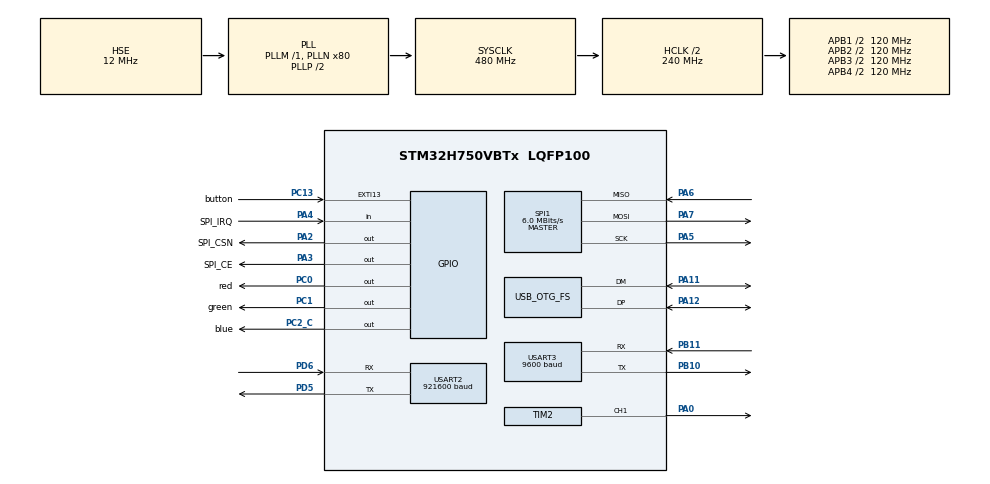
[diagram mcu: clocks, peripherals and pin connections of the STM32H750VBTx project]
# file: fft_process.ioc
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Mcu.Family=STM32H7
Mcu.Name=STM32H750VBTx
Mcu.Package=LQFP100
NVIC.OTG_FS_EP1_IN_IRQn=true\:0\:0\:false\:false\:true\:true\:true\:true
NVIC.OTG_FS_EP1_OUT_IRQn=true\:0\:0\:false\:false\:true\:true\:true\:true
NVIC.OTG_FS_IRQn=true\:0\:0\:false\:false\:true\:true\:true\:true
NVIC.PriorityGroup=NVIC_PRIORITYGROUP_4
NVIC.USART2_IRQn=true\:0\:0\:false\:false\:true\:true\:true\:true
NVIC.USART3_IRQn=true\:0\:0\:false\:false\:true\:true\:true\:true
PA0.Signal=S_TIM2_CH1_ETR
PA11.GPIO_Speed=GPIO_SPEED_FREQ_VERY_HIGH
PA11.Mode=Device_Only
PA11.Signal=USB_OTG_FS_DM
PA12.GPIO_Speed=GPIO_SPEED_FREQ_VERY_HIGH
PA12.Mode=Device_Only
PA12.Signal=USB_OTG_FS_DP
PA13\ (JTMS/SWDIO).Mode=Serial_Wire
PA13\ (JTMS/SWDIO).Signal=DEBUG_JTMS-SWDIO
PA14\ (JTCK/SWCLK).Mode=Serial_Wire
PA14\ (JTCK/SWCLK).Signal=DEBUG_JTCK-SWCLK
PA2.GPIO_Label=SPI_CSN
PA2.GPIO_Speed=GPIO_SPEED_FREQ_VERY_HIGH
PA2.Signal=GPIO_Output
PA3.GPIO_Label=SPI_CE
PA3.GPIO_PuPd=GPIO_PULLUP
PA3.GPIO_Speed=GPIO_SPEED_FREQ_VERY_HIGH
PA3.PinState=GPIO_PIN_RESET
PA3.Signal=GPIO_Output
PA4.GPIO_Label=SPI_IRQ
PA4.GPIO_PuPd=GPIO_PULLUP
PA4.Signal=GPIO_Input
PA5.Mode=Full_Duplex_Master
PA5.Signal=SPI1_SCK
PA6.Mode=Full_Duplex_Master
PA6.Signal=SPI1_MISO
PA7.Mode=Full_Duplex_Master
PA7.Signal=SPI1_MOSI
PB10.Mode=Asynchronous
PB10.Signal=USART3_TX
PB11.Mode=Asynchronous
PB11.Signal=USART3_RX
PC0.GPIO_Label=red
PC0.GPIO_PuPd=GPIO_PULLDOWN
PC0.PinState=GPIO_PIN_SET
PC0.Signal=GPIO_Output
PC1.GPIO_Label=green
PC1.GPIO_PuPd=GPIO_PULLDOWN
PC1.PinState=GPIO_PIN_SET
PC1.Signal=GPIO_Output
PC13.GPIO_Label=button
PC13.GPIO_ModeDefaultEXTI=GPIO_MODE_IT_RISING
PC13.GPIO_PuPd=GPIO_PULLUP
PC13.Signal=GPXTI13
PC14-OSC32_IN\ (OSC32_IN).Mode=LSE-External-Oscillator
PC14-OSC32_IN\ (OSC32_IN).Signal=RCC_OSC32_IN
PC15-OSC32_OUT\ (OSC32_OUT).Mode=LSE-External-Oscillator
PC15-OSC32_OUT\ (OSC32_OUT).Signal=RCC_OSC32_OUT
PC2_C.GPIO_Label=blue
PC2_C.GPIO_PuPd=GPIO_PULLDOWN
PC2_C.PinState=GPIO_PIN_SET
PC2_C.Signal=GPIO_Output
PD5.GPIO_Speed=GPIO_SPEED_FREQ_VERY_HIGH
PD5.Mode=Asynchronous
PD5.Signal=USART2_TX
PD6.GPIO_Speed=GPIO_SPEED_FREQ_VERY_HIGH
PD6.Mode=Asynchronous
PD6.Signal=USART2_RX
PH0-OSC_IN\ (PH0).Mode=HSE-External-Oscillator
PH0-OSC_IN\ (PH0).Signal=RCC_OSC_IN
PH1-OSC_OUT\ (PH1).Mode=HSE-External-Oscillator
PH1-OSC_OUT\ (PH1).Signal=RCC_OSC_OUT
ProjectManager.HeapSize=0x1000
ProjectManager.StackSize=0x400
ProjectManager.TargetToolchain=STM32CubeIDE
RCC.ADCFreq_Value=24187500
RCC.APB1Freq_Value=120000000
RCC.APB2Freq_Value=120000000
RCC.APB3Freq_Value=120000000
RCC.APB4Freq_Value=120000000
RCC.CKPERSourceSelection=RCC_CLKPSOURCE_HSE
RCC.CortexFreq_Value=480000000
RCC.D1PPRE=RCC_APB3_DIV2
RCC.D2PPRE1=RCC_APB1_DIV2
RCC.D2PPRE2=RCC_APB2_DIV2
RCC.D3PPRE=RCC_APB4_DIV2
RCC.DIVM1=1
RCC.DIVN1=80
RCC.HCLKFreq_Value=240000000
RCC.HPRE=RCC_HCLK_DIV2
RCC.HSE_VALUE=12000000
RCC.PLLSourceVirtual=RCC_PLLSOURCE_HSE
RCC.SPI123CLockSelection=RCC_SPI123CLKSOURCE_CLKP
RCC.SYSCLKFreq_VALUE=480000000
RCC.SYSCLKSource=RCC_SYSCLKSOURCE_PLLCLK
RCC.USBCLockSelection=RCC_USBCLKSOURCE_HSI48
RCC.USBFreq_Value=48000000
SH.S_TIM2_CH1_ETR.0=TIM2_CH1,PWM Generation1 CH1
SPI1.BaudRatePrescaler=SPI_BAUDRATEPRESCALER_2
SPI1.CalculateBaudRate=6.0 MBits/s
SPI1.DataSize=SPI_DATASIZE_8BIT
SPI1.Direction=SPI_DIRECTION_2LINES
SPI1.Mode=SPI_MODE_MASTER
SPI1.VirtualType=VM_MASTER
STMicroelectronics.X-CUBE-ALGOBUILD.1.3.0.LibraryCcDSPOoLibraryJjDSPOoLibrary=true
TIM2.AutoReloadPreload=TIM_AUTORELOAD_PRELOAD_ENABLE
TIM2.Channel-PWM\ Generation1\ CH1=TIM_CHANNEL_1
TIM2.Period=3999
TIM2.Prescaler=239
USART2.BaudRate=921600
USART2.OverrunDisableParam=ADVFEATURE_OVERRUN_ENABLE
USART2.RXFIFOThreshold=RXFIFO_THRESHOLD_FULL
USART2.VirtualMode-Asynchronous=VM_ASYNC
USART3.BaudRate=9600
USART3.VirtualMode-Asynchronous=VM_ASYNC
USB_DEVICE.CLASS_NAME_FS=CDC
USB_DEVICE.VirtualMode-CDC_FS=Cdc
USB_DEVICE.VirtualModeFS=Cdc_FS
USB_OTG_FS.VirtualMode=Device_Only
VP_STMicroelectronics.X-CUBE-ALGOBUILD_VS_DSPOoLibraryJjLibrary_1.3.0_1.3.0.Mode=DSPOoLibraryJjLibrary
VP_TIM2_VS_ClockSourceINT.Mode=Internal
VP_USB_DEVICE_VS_USB_DEVICE_CDC_FS.Mode=CDC_FS
board=custom

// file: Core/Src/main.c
/* USER CODE BEGIN Header */
/**
 ******************************************************************************
 * @file           : main.c
 * @brief          : Main program body
 ******************************************************************************
 * @attention
 *
 * Copyright (c) 2022 STMicroelectronics.
 * All rights reserved.
 *
 * This software is licensed under terms that can be found in the LICENSE file
 * in the root directory of this software component.
 * If no LICENSE file comes with this software, it is provided AS-IS.
 *
 ******************************************************************************
 */
/* USER CODE END Header */
#include "main.h"
#include "spi.h"
#include "tim.h"
#include "usart.h"
#include "usb_device.h"
#include "gpio.h"

/* USER CODE BEGIN Includes */
#include "nrf24l01.h"
#include "radar_recv.h"

static uint8_t radar_ready = 0;
static uint8_t radar2_ready = 0;
static float range1 = 0;
static float range2 = 0;
static float range3 = 0;
/* USER CODE END Includes */

void SystemClock_Config(void);
void PeriphCommonClock_Config(void);

int main(void)
{
  /* USER CODE BEGIN 1 */
    uint8_t test_buf[32] = "ZR000000000000";
    //uint8_t status;
    uint32_t i = 700;
  /* USER CODE END 1 */

  /* MCU Configuration--------------------------------------------------------*/

  /* Reset of all peripherals, Initializes the Flash interface and the Systick. */
  HAL_Init();

  /* Configure the system clock */
  SystemClock_Config();

/* Configure the peripherals common clocks */
  PeriphCommonClock_Config();

  /* Initialize all configured peripherals */
  MX_GPIO_Init();
  MX_USB_DEVICE_Init();
  MX_TIM2_Init();
  MX_SPI1_Init();
  MX_USART2_UART_Init();
  MX_USART3_UART_Init();
  /* USER CODE BEGIN 2 */
    //HAL_TIM_Base_Start_IT(&htim2);
  	//nrf初始�???
    nrf_init();
    nrf_tx_mode();

    init_radar();
    float *ret = NULL;
    HAL_TIM_PWM_Start(&htim2, TIM_CHANNEL_1);
    __HAL_TIM_SetCompare(&htim2, TIM_CHANNEL_1, i);
  /* USER CODE END 2 */

  /* Infinite loop */
  /* USER CODE BEGIN WHILE */
    while (1)
    {
    	switch(radar_ready)
    	{
    		case 0:
    		{
    			ret = trig_recv_data();
    			if(NULL != ret)
    			{
    			    radar_ready = 1;
    			    range1 = *ret;
    			    __HAL_TIM_SetCompare(&htim2, TIM_CHANNEL_1, 700);
    			    HAL_Delay(7000);//HAL_Delay(30000);
    			 }
    			 break;
    		}
    		case 1:
    		{
    			ret = trig_recv_data();
    			if(NULL != ret)
    			{
    			    radar_ready = 2;
    			    range2 = *ret;
    			    __HAL_TIM_SetCompare(&htim2, TIM_CHANNEL_1, 2500);

    			    HAL_Delay(7000);//HAL_Delay(30000);
    			}
    			break;
    		}
    		case 2:
    		{
    			ret = trig_recv_data2();
    			if(NULL != ret)
    			{
    				range3 = *ret;
    				radar_ready = 3;
    			}
    			break;
    		}
    		case 3:
    		{
    			float *range_p;
    			range_p = &range1;
    			memcpy(&(test_buf[2]), range_p, 4);
    			range_p = &range2;
    			memcpy(&(test_buf[6]), range_p, 4);
    			range_p = &range3;
    			memcpy(&(test_buf[10]), range_p, 4);
    			nrf_send_pkg(test_buf);
    		    HAL_GPIO_WritePin(GPIOC, green_Pin, GPIO_PIN_RESET);
    		    HAL_Delay(200);
    		    HAL_GPIO_WritePin(GPIOC, green_Pin, GPIO_PIN_SET);
    			radar_ready = 0;
    		}
    	}

    	/*float *ret1 = trig_recv_data();

        if(NULL != ret1)
        {
        	//uint32_t temp = *(uint32_t *)ret;
        	memcpy(&(test_buf[2]), ret1, 4);
        	nrf_send_pkg(test_buf);
        	__HAL_TIM_SetCompare(&htim2, TIM_CHANNEL_1, i);
        	HAL_Delay(1000);
        	if(i == 700)
        	{
        		i = 2500;
        	}
        	else
        	{
        		i = 700;
        	}
        }*/

    /* USER CODE END WHILE */

    }
}

void SystemClock_Config(void)
{
  RCC_OscInitTypeDef RCC_OscInitStruct = {0};
  RCC_ClkInitTypeDef RCC_ClkInitStruct = {0};

  /** Supply configuration update enable
  */
  HAL_PWREx_ConfigSupply(PWR_LDO_SUPPLY);

  /** Configure the main internal regulator output voltage
  */
  __HAL_PWR_VOLTAGESCALING_CONFIG(PWR_REGULATOR_VOLTAGE_SCALE0);

  while(!__HAL_PWR_GET_FLAG(PWR_FLAG_VOSRDY)) {}

  /** Initializes the RCC Oscillators according to the specified parameters
  * in the RCC_OscInitTypeDef structure.
  */
  RCC_OscInitStruct.OscillatorType = RCC_OSCILLATORTYPE_HSI48|RCC_OSCILLATORTYPE_HSE;
  RCC_OscInitStruct.HSEState = RCC_HSE_ON;
  RCC_OscInitStruct.HSI48State = RCC_HSI48_ON;
  RCC_OscInitStruct.PLL.PLLState = RCC_PLL_ON;
  RCC_OscInitStruct.PLL.PLLSource = RCC_PLLSOURCE_HSE;
  RCC_OscInitStruct.PLL.PLLM = 1;
  RCC_OscInitStruct.PLL.PLLN = 80;
  RCC_OscInitStruct.PLL.PLLP = 2;
  RCC_OscInitStruct.PLL.PLLQ = 2;
  RCC_OscInitStruct.PLL.PLLR = 2;
  RCC_OscInitStruct.PLL.PLLRGE = RCC_PLL1VCIRANGE_3;
  RCC_OscInitStruct.PLL.PLLVCOSEL = RCC_PLL1VCOWIDE;
  RCC_OscInitStruct.PLL.PLLFRACN = 0;
  if (HAL_RCC_OscConfig(&RCC_OscInitStruct) != HAL_OK)
  {
    Error_Handler();
  }

  /** Initializes the CPU, AHB and APB buses clocks
  */
  RCC_ClkInitStruct.ClockType = RCC_CLOCKTYPE_HCLK|RCC_CLOCKTYPE_SYSCLK
                              |RCC_CLOCKTYPE_PCLK1|RCC_CLOCKTYPE_PCLK2
                              |RCC_CLOCKTYPE_D3PCLK1|RCC_CLOCKTYPE_D1PCLK1;
  RCC_ClkInitStruct.SYSCLKSource = RCC_SYSCLKSOURCE_PLLCLK;
  RCC_ClkInitStruct.SYSCLKDivider = RCC_SYSCLK_DIV1;
  RCC_ClkInitStruct.AHBCLKDivider = RCC_HCLK_DIV2;
  RCC_ClkInitStruct.APB3CLKDivider = RCC_APB3_DIV2;
  RCC_ClkInitStruct.APB1CLKDivider = RCC_APB1_DIV2;
  RCC_ClkInitStruct.APB2CLKDivider = RCC_APB2_DIV2;
  RCC_ClkInitStruct.APB4CLKDivider = RCC_APB4_DIV2;

  if (HAL_RCC_ClockConfig(&RCC_ClkInitStruct, FLASH_LATENCY_4) != HAL_OK)
  {
    Error_Handler();
  }
}

void PeriphCommonClock_Config(void)
{
  RCC_PeriphCLKInitTypeDef PeriphClkInitStruct = {0};

  /** Initializes the peripherals clock
  */
  PeriphClkInitStruct.PeriphClockSelection = RCC_PERIPHCLK_CKPER;
  PeriphClkInitStruct.CkperClockSelection = RCC_CLKPSOURCE_HSE;
  if (HAL_RCCEx_PeriphCLKConfig(&PeriphClkInitStruct) != HAL_OK)
  {
    Error_Handler();
  }
}

void Error_Handler(void)
{
    __disable_irq();
    while (1)
    {
    }
}
